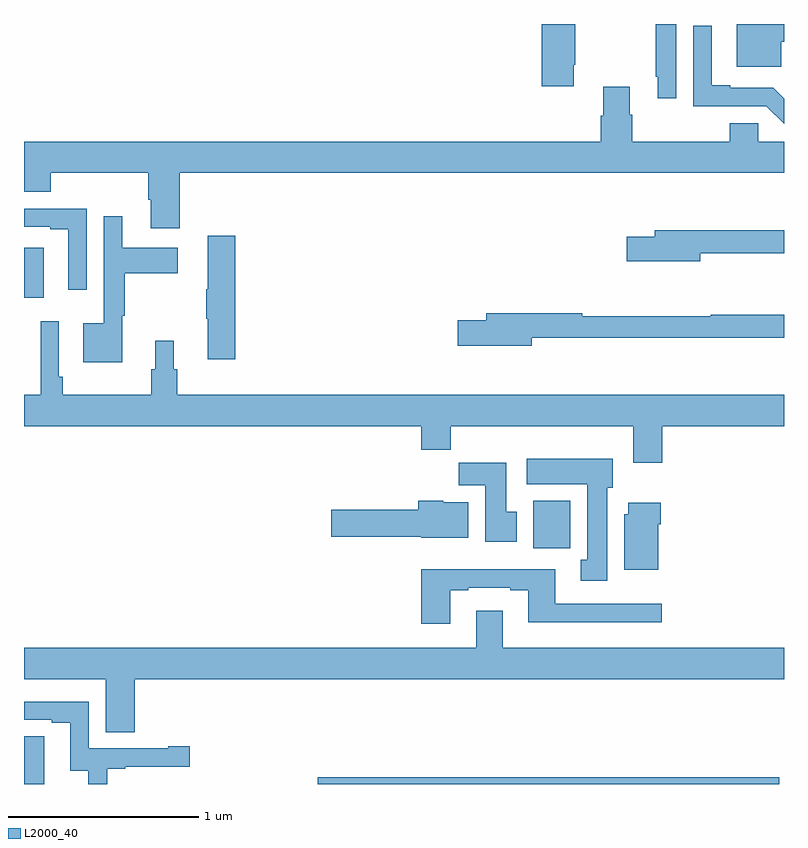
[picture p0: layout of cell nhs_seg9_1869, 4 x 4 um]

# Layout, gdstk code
import gdstk
lib = gdstk.Library(unit=1e-6, precision=1e-09)
def R(c, l, rs):  # rectangles x0, y0, x1, y1
    for r in rs: c.add(gdstk.rectangle(r[:2], r[2:], *l))
def P(c, l, *ps):  # polygons
    for p in ps: c.add(gdstk.Polygon(p, *l))
L2000_40 = (2000, 40)

nhs_seg9_1869 = lib.new_cell('nhs_seg9_1869')
R(nhs_seg9_1869, L2000_40, [(216.545,1230.5,218.974,1230.536), (217.679,1231.74,217.875,1231.99), (215,1233.059,215.104,1233.322)])
P(nhs_seg9_1869, L2000_40, [(218.986,1234.407),(219,1234.407),(219,1234.5),(218.75,1234.5),(218.75,1234.274),(218.986,1234.274)],
  [(218.433,1234.5),(218.325,1234.5),(218.325,1234.222),(218.336,1234.222),(218.336,1234.11),(218.433,1234.11)],
  [(217.894,1234.285),(217.902,1234.285),(217.902,1234.5),(217.724,1234.5),(217.724,1234.173),(217.894,1234.173)],
  [(219,1234.107),(218.943,1234.164),(218.716,1234.164),(218.716,1234.177),(218.62,1234.177),(218.62,1234.492),(218.523,1234.492),(218.523,1234.068),(218.907,1234.068),(219,1233.975)],
  [(215.819,1233.716),(219,1233.716),(219,1233.88),(218.865,1233.88),(218.865,1233.978),(218.714,1233.978),(218.714,1233.88),(218.201,1233.88),(218.201,1234.022),(218.188,1234.022),(218.188,1234.171),(218.048,1234.171),(218.048,1234.017),(218.036,1234.017),(218.036,1233.88),(215,1233.88),(215,1233.618),(215.141,1233.618),(215.141,1233.716),(215.654,1233.716),(215.654,1233.574),(215.666,1233.574),(215.666,1233.426),(215.819,1233.426)],
  [(215.331,1233.528),(215,1233.528),(215,1233.432),(215.138,1233.432),(215.138,1233.42),(215.234,1233.42),(215.234,1233.102),(215.331,1233.102)],
  [(215.518,1232.964),(215.53,1232.964),(215.53,1233.188),(215.809,1233.188),(215.809,1233.322),(215.518,1233.322),(215.518,1233.487),(215.421,1233.487),(215.421,1232.926),(215.312,1232.926),(215.312,1232.72),(215.518,1232.72)],
  [(218.56,1233.294),(219,1233.294),(219,1233.415),(218.321,1233.415),(218.321,1233.381),(218.172,1233.381),(218.172,1233.251),(218.56,1233.251)],
  [(216.113,1233.385),(215.966,1233.385),(215.966,1233.104),(215.959,1233.104),(215.959,1232.948),(215.966,1232.948),(215.966,1232.736),(216.113,1232.736)],
  [(217.672,1232.85),(219,1232.85),(219,1232.971),(218.614,1232.971),(218.614,1232.963),(217.937,1232.963),(217.937,1232.978),(217.433,1232.978),(217.433,1232.942),(217.284,1232.942),(217.284,1232.807),(217.672,1232.807)],
  [(218.36,1232.384),(219,1232.384),(219,1232.548),(215.807,1232.548),(215.807,1232.682),(215.788,1232.682),(215.788,1232.833),(215.69,1232.833),(215.69,1232.682),(215.671,1232.682),(215.671,1232.548),(215.204,1232.548),(215.204,1232.644),(215.184,1232.644),(215.184,1232.935),(215.087,1232.935),(215.087,1232.548),(215,1232.548),(215,1232.384),(217.091,1232.384),(217.091,1232.26),(217.247,1232.26),(217.247,1232.384),(218.207,1232.384),(218.207,1232.19),(218.36,1232.19)],
  [(218.071,1232.058),(218.098,1232.058),(218.098,1232.212),(217.647,1232.212),(217.647,1232.078),(217.964,1232.078),(217.964,1231.681),(217.931,1231.681),(217.931,1231.569),(218.071,1231.569)],
  [(217.594,1231.932),(217.537,1231.932),(217.537,1232.191),(217.288,1232.191),(217.288,1232.072),(217.427,1232.072),(217.427,1231.776),(217.594,1231.776)],
  [(217.339,1231.984),(217.206,1231.984),(217.206,1231.99),(217.076,1231.99),(217.076,1231.944),(216.618,1231.944),(216.618,1231.802),(217.092,1231.802),(217.092,1231.796),(217.339,1231.796)],
  [(218.338,1231.868),(218.351,1231.868),(218.351,1231.981),(218.18,1231.981),(218.18,1231.92),(218.159,1231.92),(218.159,1231.628),(218.338,1231.628)],
  [(217.243,1231.521),(217.339,1231.521),(217.339,1231.533),(217.559,1231.533),(217.559,1231.521),(217.655,1231.521),(217.655,1231.352),(218.356,1231.352),(218.356,1231.449),(217.795,1231.449),(217.795,1231.63),(217.091,1231.63),(217.091,1231.344),(217.243,1231.344)],
  [(215,1231.052),(215.429,1231.052),(215.429,1230.772),(215.582,1230.772),(215.582,1231.052),(219,1231.052),(219,1231.216),(217.519,1231.216),(217.519,1231.411),(217.379,1231.411),(217.379,1231.216),(215,1231.216)],
  [(215.438,1230.579),(215.533,1230.579),(215.533,1230.591),(215.872,1230.591),(215.872,1230.7),(215.759,1230.7),(215.759,1230.687),(215.34,1230.687),(215.34,1230.933),(215,1230.933),(215,1230.837),(215.147,1230.837),(215.147,1230.822),(215.243,1230.822),(215.243,1230.571),(215.338,1230.571),(215.338,1230.5),(215.438,1230.5)],
  [(215.107,1230.644),(215.106,1230.644),(215.106,1230.752),(215,1230.752),(215,1230.5),(215.107,1230.5)])

lib.write_gds('nhs_seg9_1869.gds')
